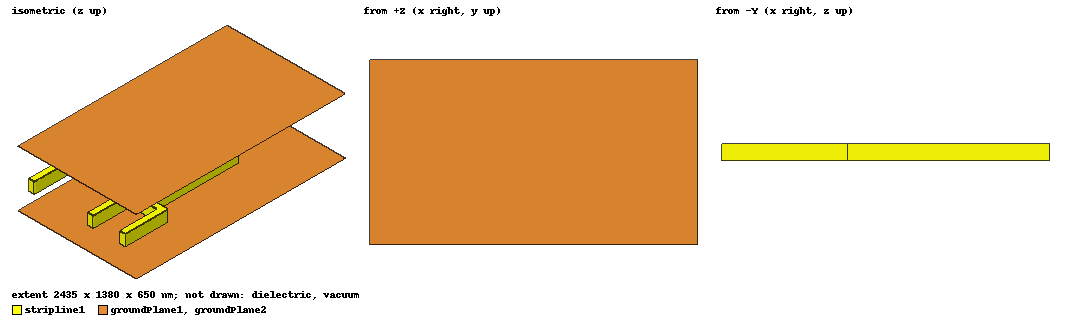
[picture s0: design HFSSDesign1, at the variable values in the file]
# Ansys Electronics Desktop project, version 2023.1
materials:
  copper: permeability=0.999991 conductivity=58000000
  silicon_dioxide: permittivity=4
  vacuum: permittivity=1

design HFSSDesign1 (HFSS, HFSS Terminal Network, model units nm)
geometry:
  groundPlane1 = rectangle(corner=(0nm, -565nm, -260nm), x_size=2435nm, y_size=1380nm)
  dielectric [silicon_dioxide] = box(corner=(0nm, -565nm, -260nm), size=(2435nm, 1380nm, 650nm))
  groundPlane2 = rectangle(corner=(0nm, -565nm, 390nm), x_size=2435nm, y_size=1380nm)
  vacuum [vacuum] = box(corner=(0nm, -565nm, -260nm), size=(2435nm, 1380nm, 780nm))
  stripline1 [copper] = box(corner=(0nm, 0nm, 0nm), size=(935nm, 65nm, 130nm))
  stripline2 = box(corner=(935nm, -435nm, 0nm), size=(65nm, 935nm, 130nm))
  stripline3 = box(corner=(1000nm, 435nm, 0nm), size=(935nm, 65nm, 130nm))
  stripline4 = box(corner=(1000nm, -435nm, 0nm), size=(1435nm, 65nm, 130nm))
  stripline5 = box(corner=(1935nm, 250nm, 0nm), size=(65nm, 435nm, 130nm))
  stripline6 = box(corner=(2000nm, 250nm, 0nm), size=(435nm, 65nm, 130nm))
  stripline7 = box(corner=(2000nm, 620nm, 0nm), size=(435nm, 65nm, 130nm))
  stripline1.unite(stripline2..stripline7)
  stripline1_1 = stripline1.copy()
  dielectric.subtract(stripline1_1)
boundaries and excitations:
  FiniteCond1: Finite Conductivity Objects=groundPlane1 Conductivity=58000000 Permeability=1 IsInternal
  FiniteCond2: Finite Conductivity Objects=groundPlane2 Conductivity=58000000 Permeability=1 IsInternal
  Rad_vacuum1: Radiation Faces=dielectric.face(-y, +y) vacuum.face(-y, +z, +y)
  stripline1_T1: Terminal port=1 Faces=stripline1.face(-x) TerminalResistance=50ohm
  stripline1_T3: Terminal port=2 Faces=stripline1.face(at (2435, 282.5, 65)) TerminalResistance=50ohm
  stripline1_T2: Terminal port=2 Faces=stripline1.face(at (2435, -402.5, 65)) TerminalResistance=50ohm
  stripline1_T4: Terminal port=2 Faces=stripline1.face(at (2435, 652.5, 65)) TerminalResistance=50ohm
  1: Wave Port Faces=vacuum.face(-x) WavePortType=Terminal NumModes=1
  2: Wave Port Faces=vacuum.face(+x) WavePortType=Terminal NumModes=1
  reference conductors: groundPlane1, groundPlane2
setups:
  Setup1: HfssDrivenAuto AutoSolverSetting=Balanced Type=Interpolating
    sweep Sweep: 1GHz to 10GHz step 0.02GHz;
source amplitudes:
  1:1: 1V 0deg
  2:1, 2:2, 2:3: 0V 0deg
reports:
  Terminal S Parameter Plot 1: dB(St(stripline1_T1,stripline1_T1)), dB(St(stripline1_T2,stripline1_T1)), dB(St(stripline1_T3,stripline1_T1)), dB(St(stripline1_T4,stripline1_T1)) vs Freq on Setup1 : Sweep
  Terminal S Parameter Plot 2: arg(St(stripline1_T1,stripline1_T1)), arg(St(stripline1_T2,stripline1_T1)), arg(St(stripline1_T3,stripline1_T1)), arg(St(stripline1_T4,stripline1_T1)) vs Freq on Setup1 : Sweep

design Circuit1 (Circuit)
options: SParamCircuitDef IntegrationMethod=FFT
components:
  S3 = Project2_HFSSDesign1()
  C6 = CAP_()
  C7 = CAP_()
  C8 = CAP_()
  A9 = EYEPROBE(source_name=AEYESOURCE16 Name=eyeTerminal3)
  A10 = EYEPROBE(Name=eyeTerminal4 source_name=AEYESOURCE16)
  A11 = EYEPROBE(Name=eyeTerminal2 source_name=AEYESOURCE16)
  A16 = EYESOURCE(UIorBPS=UnitInterval UIorBPSValue=1ns trise=500ps tfall=500ps hold_last_bit=false)
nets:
  0: C8.0, C6.1, C7.1
  net_2: A9.0, S3.stripline1_T3, C6.0
  net_3: A10.0, S3.stripline1_T4, C7.0
  net_4: S3.stripline1_T2, C8.1, A11.0
  net_6: S3.stripline1_T1, A16.0
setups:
  NexximTransient: TransientData(0.01ns, 100ns) TransientNoiseData(false, "", "", 0, 1, 0, false, 1) TransientOtherData(default)
